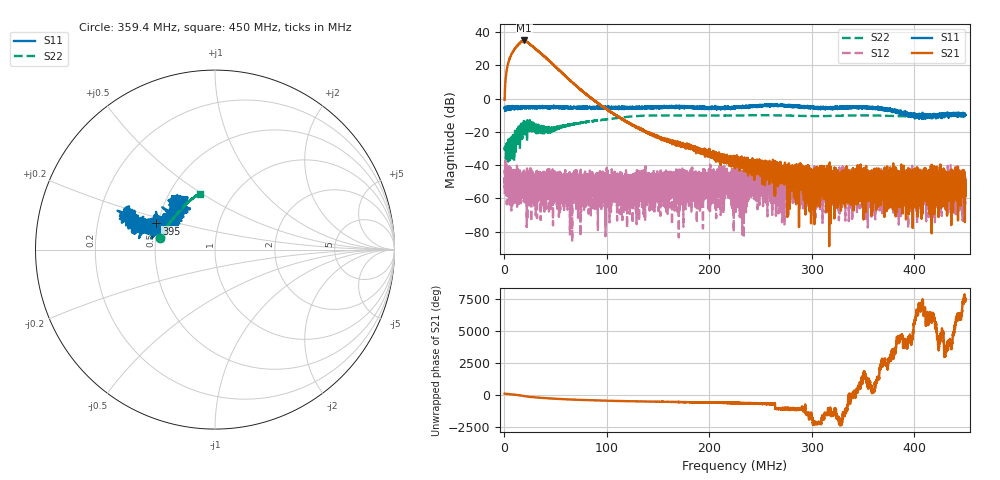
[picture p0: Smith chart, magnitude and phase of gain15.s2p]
# Hz S DB R 50
! CMT, M5065, 19127446, 24.2.4/2
! Date: 12/3/2024 4:15:31 PM
! Data: Format (Calibration Info)
! Freq	S11:dB/Ang(F2)	S21:dB/Ang(F2)	S12:dB/Ang(F2)	S22:dB/Ang(F2)
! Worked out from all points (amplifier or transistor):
!   9000 points, 300 kHz to 450 MHz, reference 50 ohm
!   highest |S21| = 35.0 dB at 19.49 MHz (marker M1)
!   |S21| within 3 dB of that: 12.92 MHz to 26.41 MHz (13.49 MHz wide, 68.6 % of centre)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
!   unconditionally stable (mu >= 1): start of sweep to end of sweep
!   at 75.26 MHz: K = 58.19, MAG = 6.6 dB, |S12| = -49.4 dB
!   at 225.2 MHz: K = 7090.00, MAG = -35.6 dB, |S12| = -49.3 dB
!   at 450 MHz: K = 40448.99, MAG = -50.4 dB, |S12| = -48.7 dB
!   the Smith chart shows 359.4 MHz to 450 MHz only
!   S11 on the Smith chart (normalised r, x): 359.4 MHz: 0.32, +0.16; 395 MHz: 0.49, +0.16; 450 MHz: 0.59, +0.32
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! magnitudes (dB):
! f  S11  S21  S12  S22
! 300 kHz  -5.6  -0.7  -57.5  -29.8
! 2.599 MHz  -6.1  18.1  -43.0  -29.2
! 5.947 MHz  -5.9  25.3  -42.8  -24.4
! 19.49 MHz  -5.7  35.0  -54.8  -16.9
! 40.13 MHz  -5.5  24.9  -50.6  -17.8
! 75.26 MHz  -5.7  5.0  -49.4  -14.5
! 104.9 MHz  -5.8  -8.4  -52.6  -12.1
! 112.3 MHz  -5.7  -11.3  -49.5  -11.5
! 150.2 MHz  -4.9  -23.6  -57.7  -10.1
! 204.6 MHz  -5.9  -32.8  -50.1  -10.2
! 219.1 MHz  -6.0  -37.1  -48.1  -10.2
! 225.2 MHz  -5.3  -37.6  -49.3  -10.2
! 237.3 MHz  -4.8  -41.0  -43.7  -10.1
! 300.1 MHz  -5.2  -45.1  -47.4  -10.5
! 359.4 MHz  -5.6  -54.1  -46.8  -10.1
! 375.1 MHz  -6.9  -53.0  -58.4  -10.4
! 395 MHz  -8.9  -52.4  -48.5  -10.8
! 418.1 MHz  -10.6  -51.3  -63.9  -10.5
! 431 MHz  -9.1  -59.8  -61.2  -10.2
! 445.8 MHz  -9.3  -51.7  -49.8  -9.9
! 450 MHz  -10.0  -52.8  -53.6  -9.9
! 450 MHz  -9.9  -51.3  -48.7  -9.9
